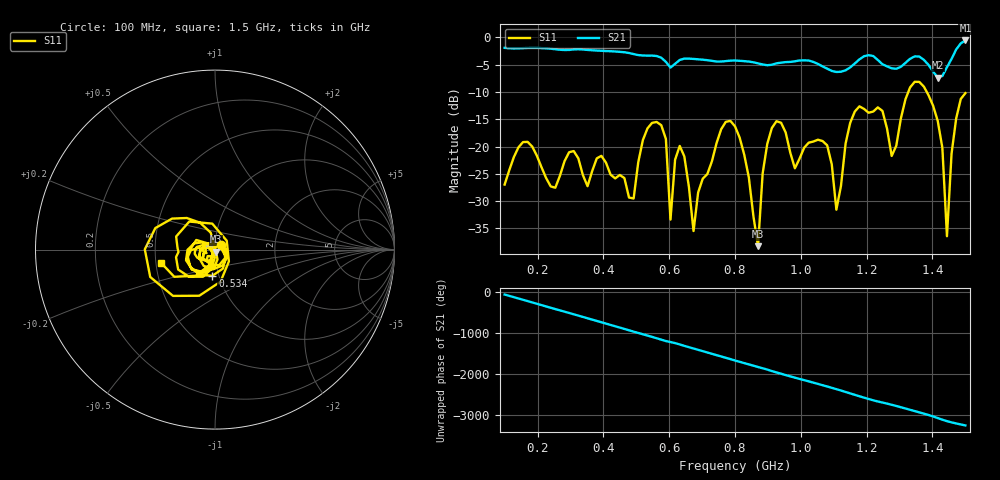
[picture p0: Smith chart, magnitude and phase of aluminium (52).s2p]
! NanoVNA-App
! Date: 2025-09-26 09:58:28
! Start: 100MHz Stop: 1,5GHz Points: 101
! S-Parameter data: F S11 S21 S12 S22
# Hz S RI R 50
!  Frequency  S11_Real  S11_Imag  S21_Real  S21_Imag  S12_Real  S12_Imag  S22_Real  S22_Imag
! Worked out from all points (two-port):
!   101 points, 100 MHz to 1.5 GHz, reference 50 ohm
!   highest |S21| = -0.56 dB at 1.5 GHz (marker M1); lowest = -7.4 dB at 1.416 GHz (marker M2)
!   |S21| within 3 dB of the highest: start of sweep to 568.6 MHz; 1.189 GHz to 1.223 GHz (33.49 MHz wide, 2.78 % of centre)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
!   lowest |S11| = -38.3 dB at 870 MHz (marker M3), VSWR 1.02, Z = 50.4 - j1.15 ohm
!   |S11| at or under -10 dB: start of sweep to 1.327 GHz; 1.383 GHz to end of sweep
!   S12 and S22 are empty: the file has one direction only
!   S11 on the Smith chart (normalised r, x): 100 MHz: 1.07, +0.06; 534 MHz: 0.93, -0.28; 1.5 GHz: 0.53, -0.09
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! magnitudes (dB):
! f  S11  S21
! 100 MHz  -27.0  -1.9
! 156 MHz  -19.2  -2.0
! 338 MHz  -25.3  -2.2
! 492 MHz  -29.5  -3.1
! 534 MHz  -16.7  -3.3
! 576 MHz  -16.1  -3.7
! 604 MHz  -33.4  -5.5
! 632 MHz  -19.9  -4.1
! 674 MHz  -35.5  -3.9
! 800 MHz  -16.3  -4.2
! 870 MHz  -38.3  -4.8
! 912 MHz  -16.6  -5.0
! 1.038 GHz  -19.1  -4.5
! 1.08 GHz  -19.8  -5.7
! 1.108 GHz  -31.6  -6.3
! 1.178 GHz  -12.6  -4.0
! 1.276 GHz  -21.7  -5.7
! 1.346 GHz  -8.1  -3.5
! 1.416 GHz  -15.3  -7.4
! 1.444 GHz  -36.4  -5.5
! 1.458 GHz  -21.3  -3.9
! 1.5 GHz  -10.2  -0.6
